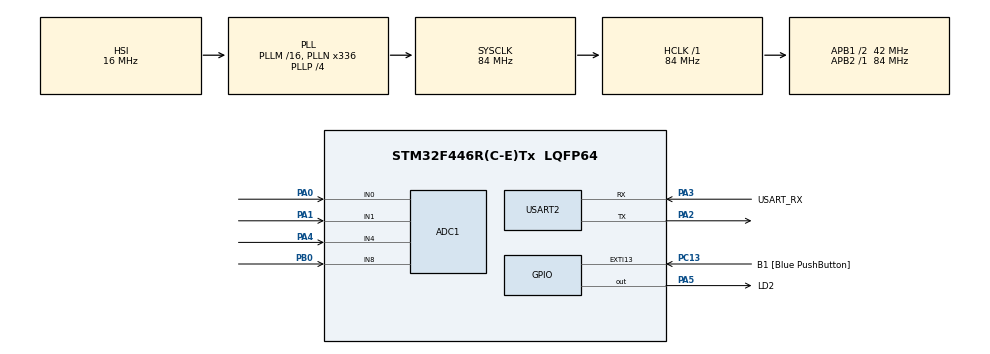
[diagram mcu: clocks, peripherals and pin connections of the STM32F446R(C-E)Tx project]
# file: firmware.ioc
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ADC1.Channel-0\#ChannelRegularConversion=ADC_CHANNEL_0
ADC1.Channel-1\#ChannelRegularConversion=ADC_CHANNEL_1
ADC1.Channel-2\#ChannelRegularConversion=ADC_CHANNEL_4
ADC1.Channel-3\#ChannelRegularConversion=ADC_CHANNEL_8
ADC1.ContinuousConvMode=ENABLE
ADC1.DMAContinuousRequests=ENABLE
ADC1.EOCSelection=ADC_EOC_SEQ_CONV
ADC1.NbrOfConversion=4
ADC1.NbrOfConversionFlag=1
ADC1.Rank-0\#ChannelRegularConversion=1
ADC1.Rank-1\#ChannelRegularConversion=2
ADC1.Rank-2\#ChannelRegularConversion=3
ADC1.Rank-3\#ChannelRegularConversion=4
ADC1.SamplingTime-0\#ChannelRegularConversion=ADC_SAMPLETIME_144CYCLES
ADC1.SamplingTime-1\#ChannelRegularConversion=ADC_SAMPLETIME_144CYCLES
ADC1.SamplingTime-2\#ChannelRegularConversion=ADC_SAMPLETIME_144CYCLES
ADC1.SamplingTime-3\#ChannelRegularConversion=ADC_SAMPLETIME_144CYCLES
ADC1.ScanConvMode=ENABLE
ADC1.master=1
Dma.ADC1.0.Direction=DMA_PERIPH_TO_MEMORY
Dma.ADC1.0.FIFOMode=DMA_FIFOMODE_DISABLE
Dma.ADC1.0.Instance=DMA2_Stream0
Dma.ADC1.0.MemDataAlignment=DMA_MDATAALIGN_HALFWORD
Dma.ADC1.0.MemInc=DMA_MINC_ENABLE
Dma.ADC1.0.Mode=DMA_CIRCULAR
Dma.ADC1.0.PeriphDataAlignment=DMA_PDATAALIGN_HALFWORD
Dma.ADC1.0.PeriphInc=DMA_PINC_DISABLE
Dma.ADC1.0.Priority=DMA_PRIORITY_LOW
Dma.Request0=ADC1
Mcu.Family=STM32F4
Mcu.Name=STM32F446R(C-E)Tx
Mcu.Package=LQFP64
NVIC.DMA2_Stream0_IRQn=true\:0\:0\:false\:false\:true\:false\:true\:true
NVIC.PriorityGroup=NVIC_PRIORITYGROUP_0
NVIC.TIM2_IRQn=true\:0\:0\:false\:false\:true\:true\:true\:true
NVIC.USART2_IRQn=true\:0\:0\:false\:false\:true\:true\:true\:true
PA0-WKUP.Signal=ADCx_IN0
PA1.Signal=ADCx_IN1
PA13.GPIO_Label=TMS
PA13.Signal=SYS_JTMS-SWDIO
PA14.GPIO_Label=TCK
PA14.Signal=SYS_JTCK-SWCLK
PA2.Mode=Asynchronous
PA2.Signal=USART2_TX
PA3.GPIO_Label=USART_RX
PA3.Mode=Asynchronous
PA3.Signal=USART2_RX
PA4.Signal=ADCx_IN4
PA5.GPIO_Label=LD2
PA5.Signal=GPIO_Output
PB0.Signal=ADCx_IN8
PB3.GPIO_Label=SWO
PB3.Signal=SYS_JTDO-SWO
PC13.GPIO_Label=B1 [Blue PushButton]
PC13.GPIO_ModeDefaultEXTI=GPIO_MODE_IT_FALLING
PC13.Signal=GPXTI13
PC14-OSC32_IN.Signal=RCC_OSC32_IN
PC15-OSC32_OUT.Signal=RCC_OSC32_OUT
PH0-OSC_IN.Signal=RCC_OSC_IN
PH1-OSC_OUT.Signal=RCC_OSC_OUT
ProjectManager.HeapSize=0x200
ProjectManager.StackSize=0x400
ProjectManager.TargetToolchain=STM32CubeIDE
RCC.AHBFreq_Value=84000000
RCC.APB1CLKDivider=RCC_HCLK_DIV2
RCC.APB1Freq_Value=42000000
RCC.APB1TimFreq_Value=84000000
RCC.APB2Freq_Value=84000000
RCC.APB2TimFreq_Value=84000000
RCC.CortexFreq_Value=84000000
RCC.FLatency-AdvancedSettings=FLASH_LATENCY_2
RCC.HCLKFreq_Value=84000000
RCC.HSE_VALUE=8000000
RCC.HSI_VALUE=16000000
RCC.LSE_VALUE=32768
RCC.PLLN=336
RCC.PLLP=RCC_PLLP_DIV4
RCC.SYSCLKFreq_VALUE=84000000
RCC.SYSCLKSource=RCC_SYSCLKSOURCE_PLLCLK
RCC.USBFreq_Value=168000000
RCC.VCOOutputFreq_Value=336000000
SH.ADCx_IN0.0=ADC1_IN0,IN0
SH.ADCx_IN1.0=ADC1_IN1,IN1
SH.ADCx_IN4.0=ADC1_IN4,IN4
SH.ADCx_IN8.0=ADC1_IN8,IN8
TIM2.Period=499
TIM2.Prescaler=8399
USART2.VirtualMode=VM_ASYNC
VP_TIM2_VS_ClockSourceINT.Mode=Internal
board=NUCLEO-F446RE

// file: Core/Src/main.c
/* USER CODE BEGIN Header */
/**
  ******************************************************************************
  * @file           : main.c
  * @brief          : Main program body
  ******************************************************************************
  * @attention
  *
  * Copyright (c) 2026 STMicroelectronics.
  * All rights reserved.
  *
  * This software is licensed under terms that can be found in the LICENSE file
  * in the root directory of this software component.
  * If no LICENSE file comes with this software, it is provided AS-IS.
  *
  ******************************************************************************
  */
/* USER CODE END Header */
#include "main.h"
#include "adc.h"
#include "dma.h"
#include "tim.h"
#include "usart.h"
#include "gpio.h"
#include <stdio.h>
#include <string.h>

/* USER CODE BEGIN PV */
volatile uint16_t adc_buf[4];      // DMA fills this: RL, XL, V1, V2 (0..4095)
volatile uint8_t  tick_flag = 0;   // set by TIM2 every 50 ms (20 Hz)
volatile uint8_t  id_flag   = 0;   // set when the PC sends PING or ID

static uint8_t rx_byte;            // one character received from the PC
static char    rx_line[16];        // builds up a command line
static uint8_t rx_idx = 0;
/* USER CODE END PV */

void SystemClock_Config(void);

/* USER CODE BEGIN 0 */

// TIM2 fired (every 50 ms) -> ask the main loop to send one sample
void HAL_TIM_PeriodElapsedCallback(TIM_HandleTypeDef *htim)
{
    if (htim->Instance == TIM2) {
        tick_flag = 1;
    }
}

// One character arrived from the PC -> collect it into a command line
void HAL_UART_RxCpltCallback(UART_HandleTypeDef *huart)
{
    if (huart->Instance == USART2)
    {
        if (rx_byte == '\n' || rx_byte == '\r')
        {
            rx_line[rx_idx] = '\0';
            if (strncmp(rx_line, "PING", 4) == 0 || strncmp(rx_line, "ID", 2) == 0) {
                id_flag = 1;
            }
            rx_idx = 0;
        }
        else if (rx_idx < sizeof(rx_line) - 1)
        {
            rx_line[rx_idx++] = (char)rx_byte;
        }
        HAL_UART_Receive_IT(&huart2, &rx_byte, 1);   // listen for the next character
    }
}

/* USER CODE END 0 */

int main(void)
{

  /* MCU Configuration--------------------------------------------------------*/

  /* Reset of all peripherals, Initializes the Flash interface and the Systick. */
  HAL_Init();

  /* Configure the system clock */
  SystemClock_Config();

  /* Initialize all configured peripherals */
  MX_GPIO_Init();
  MX_DMA_Init();
  MX_ADC1_Init();
  MX_TIM2_Init();
  MX_USART2_UART_Init();
  /* USER CODE BEGIN 2 */

  HAL_ADC_Start_DMA(&hadc1, (uint32_t *)adc_buf, 4);   // ADC + DMA run forever
  HAL_TIM_Base_Start_IT(&htim2);                       // start the 20 Hz timer
  HAL_UART_Receive_IT(&huart2, &rx_byte, 1);           // listen for PING / ID

  /* USER CODE END 2 */

  /* Infinite loop */
  while (1)
  {

    /* USER CODE BEGIN 3 */
	  static uint8_t blink = 0;
	      char line[40];

	      if (tick_flag)
	      {
	          tick_flag = 0;

	          // copy the 4 values at once so they can't change mid-print
	          uint16_t rl = adc_buf[0];
	          uint16_t xl = adc_buf[1];
	          uint16_t v1 = adc_buf[2];
	          uint16_t v2 = adc_buf[3];

	          int n = snprintf(line, sizeof(line), "%u,%u,%u,%u\n", rl, xl, v1, v2);
	          HAL_UART_Transmit(&huart2, (uint8_t *)line, n, 10);

	          if (++blink >= 10) {                 // toggle the LED every 0.5 s
	              blink = 0;
	              HAL_GPIO_TogglePin(LD2_GPIO_Port, LD2_Pin);
	          }
	      }

	      if (id_flag)
	      {
	          id_flag = 0;
	          const char *id = "ID:STM32F446RE-M1\n";
	          HAL_UART_Transmit(&huart2, (uint8_t *)id, strlen(id), 10);
	      }
  }
  /* USER CODE END 3 */
}

void SystemClock_Config(void)
{
  RCC_OscInitTypeDef RCC_OscInitStruct = {0};
  RCC_ClkInitTypeDef RCC_ClkInitStruct = {0};

  /** Configure the main internal regulator output voltage
  */
  __HAL_RCC_PWR_CLK_ENABLE();
  __HAL_PWR_VOLTAGESCALING_CONFIG(PWR_REGULATOR_VOLTAGE_SCALE3);

  /** Initializes the RCC Oscillators according to the specified parameters
  * in the RCC_OscInitTypeDef structure.
  */
  RCC_OscInitStruct.OscillatorType = RCC_OSCILLATORTYPE_HSI;
  RCC_OscInitStruct.HSIState = RCC_HSI_ON;
  RCC_OscInitStruct.HSICalibrationValue = RCC_HSICALIBRATION_DEFAULT;
  RCC_OscInitStruct.PLL.PLLState = RCC_PLL_ON;
  RCC_OscInitStruct.PLL.PLLSource = RCC_PLLSOURCE_HSI;
  RCC_OscInitStruct.PLL.PLLM = 16;
  RCC_OscInitStruct.PLL.PLLN = 336;
  RCC_OscInitStruct.PLL.PLLP = RCC_PLLP_DIV4;
  RCC_OscInitStruct.PLL.PLLQ = 2;
  RCC_OscInitStruct.PLL.PLLR = 2;
  if (HAL_RCC_OscConfig(&RCC_OscInitStruct) != HAL_OK)
  {
    Error_Handler();
  }

  /** Initializes the CPU, AHB and APB buses clocks
  */
  RCC_ClkInitStruct.ClockType = RCC_CLOCKTYPE_HCLK|RCC_CLOCKTYPE_SYSCLK
                              |RCC_CLOCKTYPE_PCLK1|RCC_CLOCKTYPE_PCLK2;
  RCC_ClkInitStruct.SYSCLKSource = RCC_SYSCLKSOURCE_PLLCLK;
  RCC_ClkInitStruct.AHBCLKDivider = RCC_SYSCLK_DIV1;
  RCC_ClkInitStruct.APB1CLKDivider = RCC_HCLK_DIV2;
  RCC_ClkInitStruct.APB2CLKDivider = RCC_HCLK_DIV1;

  if (HAL_RCC_ClockConfig(&RCC_ClkInitStruct, FLASH_LATENCY_2) != HAL_OK)
  {
    Error_Handler();
  }
}

void Error_Handler(void)
{
  __disable_irq();
  while (1)
  {
  }
}
